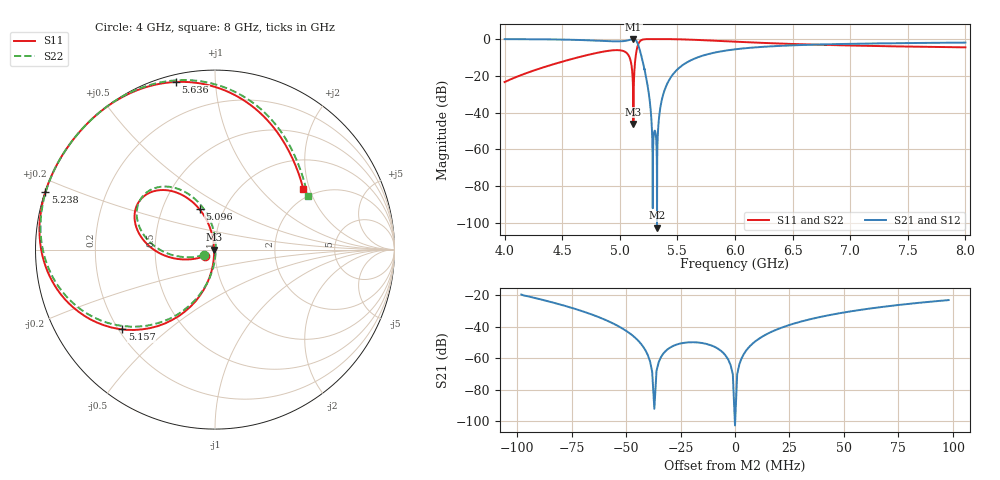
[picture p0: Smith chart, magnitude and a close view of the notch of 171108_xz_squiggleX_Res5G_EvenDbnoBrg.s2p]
! Sonnet Data File
! From: emgraph Version : 16.52
! From Emgraph Data: 171106_xz_squiggleX_Res5G_EvenDbnoBrg
! Data File Written: 11/08/2017 15:13:18
!< HDATE 11/08/2017 14:31:52
!< MDATE 11/08/2017 14:31:52
!< PARAMS
!< Squiggle_length = 16.0
!< Inter_L = 35.0
!< Holo = 82.0
!< Inter = 19.0
!< END PARAMS
# GHZ S MA R 50.00000
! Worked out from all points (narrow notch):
!   4001 points, 4 GHz to 8 GHz, reference 50 ohm
!   highest |S21| = 0.00 dB at 5.118 GHz (marker M1); lowest = -102.6 dB at 5.323 GHz (marker M2)
!   notch at M2: 100.2 dB deep, 16.5 MHz wide at half that depth
!   lowest |S11| = -46.2 dB at 5.118 GHz (marker M3), VSWR 1.01, Z = 49.5 - j0.0262 ohm
!   |S11| at or under -10 dB: start of sweep to 4.634 GHz; 5.085 GHz to 5.136 GHz (51.62 MHz wide, 1.01 % of centre)
!   |S22| runs from -46.8 to 0.0 dB; largest |S21 - S12| = 0
!   S11 on the Smith chart (normalised r, x): 4 GHz: 0.89, -0.06; 5.096 GHz: 0.77, +0.37; 5.157 GHz: 0.21, -0.36; 5.238 GHz: 0.00, +0.17; 5.636 GHz: 0.03, +0.79; 8 GHz: 1.74, +1.81
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4  0.06785 -148.1  0.9977 -61.5  0.9977 -61.5  0.06785 -154.8
!< P1 F=4.0 Eeff=(6.46205531 -2.9804e-5) Z0=(51.0228591 1.17668e-4) R=0.01152096 C=0.01592983
!< P2 F=4.0 Eeff=(6.46205531 -2.9804e-5) Z0=(51.0228591 1.17668e-4) R=0.01152096 C=0.01592983
4.667  0.3361 -179.4  0.9418 -91.3  0.9418 -91.3  0.3362 176.8
5.01  0.4919 141.8  0.8706 -130.1  0.8706 -130.1  0.4919 138.1
5.069  0.3894 124.6  0.921 -147.4  0.921 -147.4  0.3894 120.5
5.096  0.2408 111.0  0.9704 -161.6  0.9704 -161.6  0.2408 105.9
5.105  0.1594 105.1  0.9871 -168.1  0.9871 -168.1  0.1594 98.9
5.118  0.004897 -176.9  0.9998 -179.8  0.9998 -179.8  0.004557 -2.7
5.157  0.6815 -139.3  0.7314 129.6  0.7314 129.6  0.6815 -141.6
5.19  0.9473 -174.1  0.3197 94.6  0.3197 94.6  0.9473 -176.8
5.238  0.998 161.2  0.06225 69.8  0.06225 69.8  0.998 158.3
5.285  1 148.2  0.0003781 57.5  0.0003781 57.5  1 145.2
5.304  1 144.2  0.003227 -127.3  0.003227 -127.3  1 141.2
5.323  1 140.6  7.42e-06 -99.9  7.42e-06 -99.9  1 137.5
5.334  1 138.7  0.004176 47.1  0.004176 47.1  1 135.6
5.363  0.9997 134.0  0.02104 42.4  0.02104 42.4  0.9997 130.9
5.415  0.9979 126.6  0.06435 35.0  0.06435 35.0  0.9979 123.5
5.504  0.9881 115.9  0.1534 24.3  0.1534 24.3  0.9881 112.8
5.636  0.9591 103.1  0.2829 11.5  0.2829 11.5  0.9591 100.0
6  0.8498 79.5  0.5266 -12.1  0.5266 -12.1  0.8498 76.3
6.667  0.7096 57.1  0.7038 -34.6  0.7038 -34.6  0.7096 53.7
7.334  0.6382 44.1  0.7692 -47.8  0.7692 -47.8  0.6382 40.4
8  0.596 34.3  0.803 -57.8  0.803 -57.8  0.596 30.1
